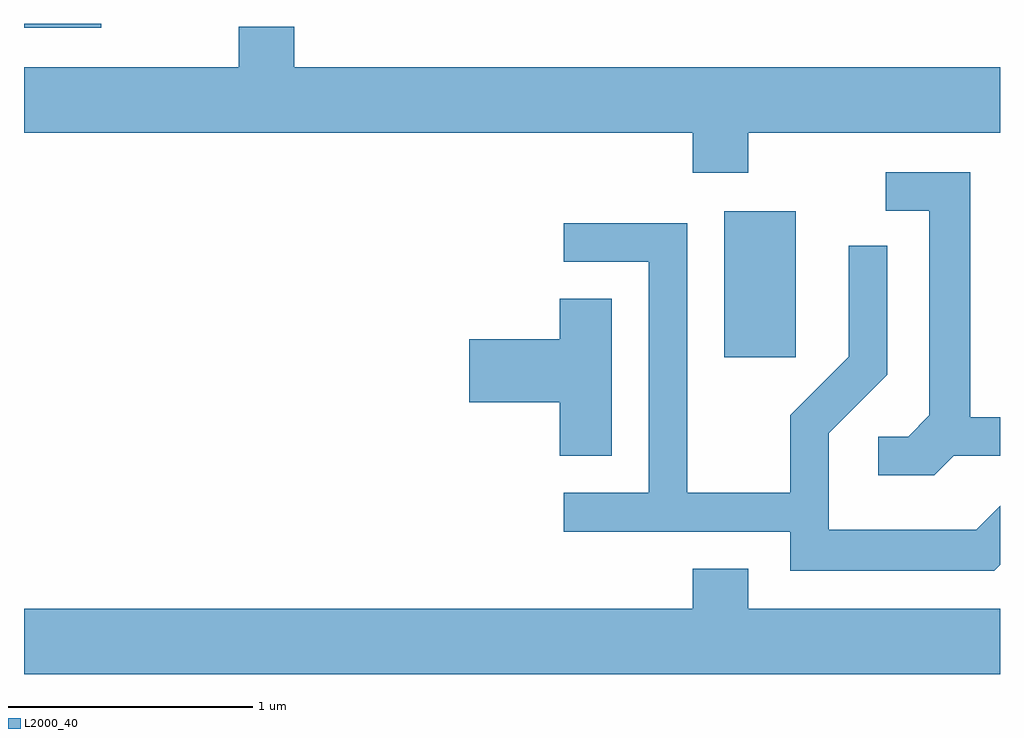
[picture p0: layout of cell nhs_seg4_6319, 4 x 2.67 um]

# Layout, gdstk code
import gdstk
lib = gdstk.Library(unit=1e-6, precision=1e-09)
def R(c, l, rs):  # rectangles x0, y0, x1, y1
    for r in rs: c.add(gdstk.rectangle(r[:2], r[2:], *l))
def P(c, l, *ps):  # polygons
    for p in ps: c.add(gdstk.Polygon(p, *l))
L2000_40 = (2000, 40)

nhs_seg4_6319 = lib.new_cell('nhs_seg4_6319')
R(nhs_seg4_6319, L2000_40, [(372.481,1382.616,372.774,1383.214), (369.611,1383.966,369.928,1383.982)])
P(nhs_seg4_6319, L2000_40, [(372.579,1383.536),(373.611,1383.536),(373.611,1383.804),(370.719,1383.804),(370.719,1383.969),(370.491,1383.969),(370.491,1383.804),(369.611,1383.804),(369.611,1383.536),(372.351,1383.536),(372.351,1383.371),(372.579,1383.371)],
  [(373.422,1382.211),(373.611,1382.211),(373.611,1382.369),(373.489,1382.369),(373.489,1383.374),(373.143,1383.374),(373.143,1383.216),(373.321,1383.216),(373.321,1382.377),(373.234,1382.289),(373.113,1382.289),(373.113,1382.131),(373.342,1382.131)],
  [(373.611,1381.765),(373.611,1382.006),(373.514,1381.909),(372.909,1381.909),(372.909,1382.304),(373.149,1382.544),(373.149,1383.073),(372.991,1383.073),(372.991,1382.617),(372.751,1382.377),(372.751,1382.059),(372.329,1382.059),(372.329,1383.164),(371.823,1383.164),(371.823,1383.006),(372.171,1383.006),(372.171,1382.059),(371.823,1382.059),(371.823,1381.901),(372.751,1381.901),(372.751,1381.741),(373.587,1381.741)],
  [(372.019,1382.854),(371.806,1382.854),(371.806,1382.689),(371.436,1382.689),(371.436,1382.431),(371.806,1382.431),(371.806,1382.211),(372.019,1382.211)],
  [(373.611,1381.584),(372.579,1381.584),(372.579,1381.749),(372.351,1381.749),(372.351,1381.584),(369.611,1381.584),(369.611,1381.316),(373.611,1381.316)])

lib.write_gds('nhs_seg4_6319.gds')
